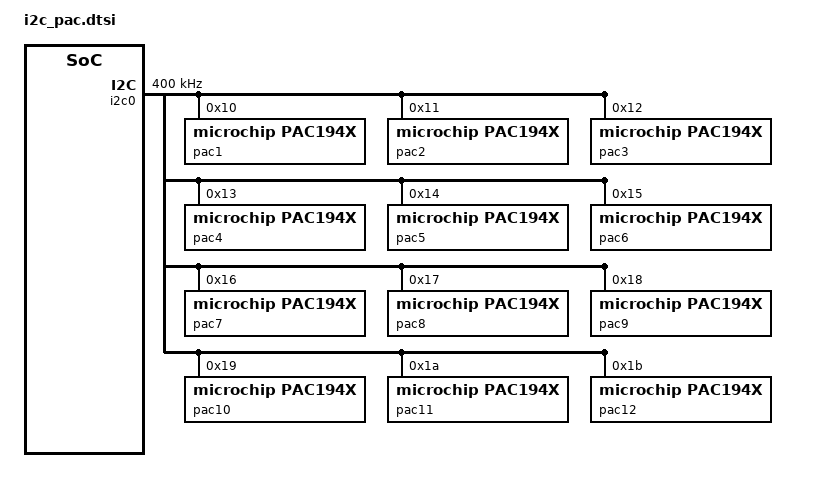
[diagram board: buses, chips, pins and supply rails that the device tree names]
/* Copyright 2026 The ChromiumOS Authors
 * Use of this source code is governed by a BSD-style license that can be
 * found in the LICENSE file.
 */

#include <zephyr/dt-bindings/sensor/pac194x.h>

&i2c0 {
	status = "okay";
	pinctrl-0 = <&i2c0_clk_gpb3_default
			 &i2c0_data_gpb4_default>;
	pinctrl-names = "default";

	label = "I2C_PAC";
	clock-frequency = <I2C_BITRATE_FAST>;

	pac1: pac1954@10 {
		compatible = "microchip,pac194x";
		reg = <0x10>;
		status = "okay";
		#address-cells = <1>;
		#size-cells = <0>;
		microchip,refresh-mode = <PAC_REFRESH_MANUAL>;
		zephyr,deferred-init;

		channel@2 {
			reg = <0x2>;
			microchip,shunt-resistor-micro-ohms = <100000>;
			microchip,vbus-mode = <PAC_BIPOLAR_HALF_FSR>;
			microchip,vsense-mode = <PAC_BIPOLAR_HALF_FSR>;
			microchip,accumulation-mode = <PAC_ACCUM_VPOWER>;
		};
		channel@3 {
			reg = <0x3>;
			microchip,shunt-resistor-micro-ohms = <100000>;
			microchip,vbus-mode = <PAC_BIPOLAR_HALF_FSR>;
			microchip,vsense-mode = <PAC_BIPOLAR_HALF_FSR>;
			microchip,accumulation-mode = <PAC_ACCUM_VPOWER>;
		};
		channel@4 {
			reg = <0x4>;
			microchip,shunt-resistor-micro-ohms = <5000>;
			microchip,vbus-mode = <PAC_BIPOLAR_HALF_FSR>;
			microchip,vsense-mode = <PAC_BIPOLAR_HALF_FSR>;
			microchip,accumulation-mode = <PAC_ACCUM_VPOWER>;
		};
	};

	pac2: pac1954@11 {
		compatible = "microchip,pac194x";
		reg = <0x11>;
		status = "okay";
		#address-cells = <1>;
		#size-cells = <0>;
		microchip,refresh-mode = <PAC_REFRESH_MANUAL>;
		zephyr,deferred-init;

		channel@1 {
			reg = <0x1>;
			microchip,shunt-resistor-micro-ohms = <10000>;
			microchip,vbus-mode = <PAC_BIPOLAR_HALF_FSR>;
			microchip,vsense-mode = <PAC_BIPOLAR_HALF_FSR>;
			microchip,accumulation-mode = <PAC_ACCUM_VPOWER>;
		};
		channel@2 {
			reg = <0x2>;
			microchip,shunt-resistor-micro-ohms = <3000>;
			microchip,vbus-mode = <PAC_BIPOLAR_HALF_FSR>;
			microchip,vsense-mode = <PAC_BIPOLAR_HALF_FSR>;
			microchip,accumulation-mode = <PAC_ACCUM_VPOWER>;
		};
		channel@4 {
			reg = <0x4>;
			microchip,shunt-resistor-micro-ohms = <10000>;
			microchip,vbus-mode = <PAC_BIPOLAR_HALF_FSR>;
			microchip,vsense-mode = <PAC_BIPOLAR_HALF_FSR>;
			microchip,accumulation-mode = <PAC_ACCUM_VPOWER>;
		};
	};

	pac3: pac1954@12 {
		compatible = "microchip,pac194x";
		reg = <0x12>;
		status = "okay";
		#address-cells = <1>;
		#size-cells = <0>;
		microchip,refresh-mode = <PAC_REFRESH_MANUAL>;
		zephyr,deferred-init;

		channel@1 {
			reg = <0x1>;
			microchip,shunt-resistor-micro-ohms = <10000>;
			microchip,vbus-mode = <PAC_BIPOLAR_HALF_FSR>;
			microchip,vsense-mode = <PAC_BIPOLAR_HALF_FSR>;
			microchip,accumulation-mode = <PAC_ACCUM_VPOWER>;
		};
		channel@2 {
			reg = <0x2>;
			microchip,shunt-resistor-micro-ohms = <10000>;
			microchip,vbus-mode = <PAC_BIPOLAR_HALF_FSR>;
			microchip,vsense-mode = <PAC_BIPOLAR_HALF_FSR>;
			microchip,accumulation-mode = <PAC_ACCUM_VPOWER>;
		};
		channel@3 {
			reg = <0x3>;
			microchip,shunt-resistor-micro-ohms = <50000>;
			microchip,vbus-mode = <PAC_BIPOLAR_HALF_FSR>;
			microchip,vsense-mode = <PAC_BIPOLAR_HALF_FSR>;
			microchip,accumulation-mode = <PAC_ACCUM_VPOWER>;
		};
		channel@4 {
			reg = <0x4>;
			microchip,shunt-resistor-micro-ohms = <5000>;
			microchip,vbus-mode = <PAC_BIPOLAR_HALF_FSR>;
			microchip,vsense-mode = <PAC_BIPOLAR_HALF_FSR>;
			microchip,accumulation-mode = <PAC_ACCUM_VPOWER>;
		};
	};

	pac4: pac1954@13 {
		compatible = "microchip,pac194x";
		reg = <0x13>;
		status = "okay";
		#address-cells = <1>;
		#size-cells = <0>;
		microchip,refresh-mode = <PAC_REFRESH_MANUAL>;
		zephyr,deferred-init;

		channel@2 {
			reg = <0x2>;
			microchip,shunt-resistor-micro-ohms = <1000>;
			microchip,vbus-mode = <PAC_BIPOLAR_HALF_FSR>;
			microchip,vsense-mode = <PAC_BIPOLAR_HALF_FSR>;
			microchip,accumulation-mode = <PAC_ACCUM_VPOWER>;
		};
		channel@3 {
			reg = <0x3>;
			microchip,shunt-resistor-micro-ohms = <10000>;
			microchip,vbus-mode = <PAC_BIPOLAR_HALF_FSR>;
			microchip,vsense-mode = <PAC_BIPOLAR_HALF_FSR>;
			microchip,accumulation-mode = <PAC_ACCUM_VPOWER>;
		};
		channel@4 {
			reg = <0x4>;
			microchip,shunt-resistor-micro-ohms = <100000>;
			microchip,vbus-mode = <PAC_BIPOLAR_HALF_FSR>;
			microchip,vsense-mode = <PAC_BIPOLAR_HALF_FSR>;
			microchip,accumulation-mode = <PAC_ACCUM_VPOWER>;
		};
	};

	pac5: pac1954@14 {
		compatible = "microchip,pac194x";
		reg = <0x14>;
		status = "okay";
		#address-cells = <1>;
		#size-cells = <0>;
		microchip,refresh-mode = <PAC_REFRESH_MANUAL>;
		zephyr,deferred-init;

		channel@2 {
			reg = <0x2>;
			microchip,shunt-resistor-micro-ohms = <10000>;
			microchip,vbus-mode = <PAC_BIPOLAR_HALF_FSR>;
			microchip,vsense-mode = <PAC_BIPOLAR_HALF_FSR>;
			microchip,accumulation-mode = <PAC_ACCUM_VPOWER>;
		};
		channel@3 {
			reg = <0x3>;
			microchip,shunt-resistor-micro-ohms = <1000>;
			microchip,vbus-mode = <PAC_BIPOLAR_HALF_FSR>;
			microchip,vsense-mode = <PAC_BIPOLAR_HALF_FSR>;
			microchip,accumulation-mode = <PAC_ACCUM_VPOWER>;
		};
		channel@4 {
			reg = <0x4>;
			microchip,shunt-resistor-micro-ohms = <2000>;
			microchip,vbus-mode = <PAC_BIPOLAR_HALF_FSR>;
			microchip,vsense-mode = <PAC_BIPOLAR_HALF_FSR>;
			microchip,accumulation-mode = <PAC_ACCUM_VPOWER>;
		};
	};

	pac6: pac1954@15 {
		compatible = "microchip,pac194x";
		reg = <0x15>;
		status = "okay";
		#address-cells = <1>;
		#size-cells = <0>;
		microchip,refresh-mode = <PAC_REFRESH_MANUAL>;
		zephyr,deferred-init;

		channel@1 {
			reg = <0x1>;
			microchip,shunt-resistor-micro-ohms = <20000>;
			microchip,vbus-mode = <PAC_BIPOLAR_HALF_FSR>;
			microchip,vsense-mode = <PAC_BIPOLAR_HALF_FSR>;
			microchip,accumulation-mode = <PAC_ACCUM_VPOWER>;
		};
		channel@3 {
			reg = <0x3>;
			microchip,shunt-resistor-micro-ohms = <20000>;
			microchip,vbus-mode = <PAC_BIPOLAR_HALF_FSR>;
			microchip,vsense-mode = <PAC_BIPOLAR_HALF_FSR>;
			microchip,accumulation-mode = <PAC_ACCUM_VPOWER>;
		};
		channel@4 {
			reg = <0x4>;
			microchip,shunt-resistor-micro-ohms = <20000>;
			microchip,vbus-mode = <PAC_BIPOLAR_HALF_FSR>;
			microchip,vsense-mode = <PAC_BIPOLAR_HALF_FSR>;
			microchip,accumulation-mode = <PAC_ACCUM_VPOWER>;
		};
	};

	pac7: pac1954@16 {
		compatible = "microchip,pac194x";
		reg = <0x16>;
		status = "okay";
		#address-cells = <1>;
		#size-cells = <0>;
		microchip,refresh-mode = <PAC_REFRESH_MANUAL>;
		zephyr,deferred-init;

		channel@1 {
			reg = <0x1>;
			microchip,shunt-resistor-micro-ohms = <100000>;
			microchip,vbus-mode = <PAC_BIPOLAR_HALF_FSR>;
			microchip,vsense-mode = <PAC_BIPOLAR_HALF_FSR>;
			microchip,accumulation-mode = <PAC_ACCUM_VPOWER>;
		};
		channel@2 {
			reg = <0x2>;
			microchip,shunt-resistor-micro-ohms = <100000>;
			microchip,vbus-mode = <PAC_BIPOLAR_HALF_FSR>;
			microchip,vsense-mode = <PAC_BIPOLAR_HALF_FSR>;
			microchip,accumulation-mode = <PAC_ACCUM_VPOWER>;
		};
		channel@3 {
			reg = <0x3>;
			microchip,shunt-resistor-micro-ohms = <100000>;
			microchip,vbus-mode = <PAC_BIPOLAR_HALF_FSR>;
			microchip,vsense-mode = <PAC_BIPOLAR_HALF_FSR>;
			microchip,accumulation-mode = <PAC_ACCUM_VPOWER>;
		};
		channel@4 {
			reg = <0x4>;
			microchip,shunt-resistor-micro-ohms = <100000>;
			microchip,vbus-mode = <PAC_BIPOLAR_HALF_FSR>;
			microchip,vsense-mode = <PAC_BIPOLAR_HALF_FSR>;
			microchip,accumulation-mode = <PAC_ACCUM_VPOWER>;
		};
	};

	pac8: pac1954@17 {
		compatible = "microchip,pac194x";
		reg = <0x17>;
		status = "okay";
		#address-cells = <1>;
		#size-cells = <0>;
		microchip,refresh-mode = <PAC_REFRESH_MANUAL>;
		zephyr,deferred-init;

		channel@1 {
			reg = <0x1>;
			microchip,shunt-resistor-micro-ohms = <1000>;
			microchip,vbus-mode = <PAC_BIPOLAR_HALF_FSR>;
			microchip,vsense-mode = <PAC_BIPOLAR_HALF_FSR>;
			microchip,accumulation-mode = <PAC_ACCUM_VPOWER>;
		};
		channel@2 {
			reg = <0x2>;
			microchip,shunt-resistor-micro-ohms = <100000>;
			microchip,vbus-mode = <PAC_BIPOLAR_HALF_FSR>;
			microchip,vsense-mode = <PAC_BIPOLAR_HALF_FSR>;
			microchip,accumulation-mode = <PAC_ACCUM_VPOWER>;
		};
		channel@4 {
			reg = <0x4>;
			microchip,shunt-resistor-micro-ohms = <1000>;
			microchip,vbus-mode = <PAC_BIPOLAR_HALF_FSR>;
			microchip,vsense-mode = <PAC_BIPOLAR_HALF_FSR>;
			microchip,accumulation-mode = <PAC_ACCUM_VPOWER>;
		};
	};

	pac9: pac1954@18 {
		compatible = "microchip,pac194x";
		reg = <0x18>;
		status = "okay";
		#address-cells = <1>;
		#size-cells = <0>;
		microchip,refresh-mode = <PAC_REFRESH_MANUAL>;
		zephyr,deferred-init;

		channel@1 {
			reg = <0x1>;
			microchip,shunt-resistor-micro-ohms = <10000>;
			microchip,vbus-mode = <PAC_BIPOLAR_HALF_FSR>;
			microchip,vsense-mode = <PAC_BIPOLAR_HALF_FSR>;
			microchip,accumulation-mode = <PAC_ACCUM_VPOWER>;
		};
		channel@3 {
			reg = <0x3>;
			microchip,shunt-resistor-micro-ohms = <5000>;
			microchip,vbus-mode = <PAC_BIPOLAR_HALF_FSR>;
			microchip,vsense-mode = <PAC_BIPOLAR_HALF_FSR>;
			microchip,accumulation-mode = <PAC_ACCUM_VPOWER>;
		};
		channel@4 {
			reg = <0x4>;
			microchip,shunt-resistor-micro-ohms = <1000>;
			microchip,vbus-mode = <PAC_BIPOLAR_HALF_FSR>;
			microchip,vsense-mode = <PAC_BIPOLAR_HALF_FSR>;
			microchip,accumulation-mode = <PAC_ACCUM_VPOWER>;
		};
	};

	pac10: pac1954@19 {
		compatible = "microchip,pac194x";
		reg = <0x19>;
		status = "okay";
		#address-cells = <1>;
		#size-cells = <0>;
		microchip,refresh-mode = <PAC_REFRESH_MANUAL>;
		zephyr,deferred-init;

		channel@1 {
			reg = <0x1>;
			microchip,shunt-resistor-micro-ohms = <10000>;
			microchip,vbus-mode = <PAC_BIPOLAR_HALF_FSR>;
			microchip,vsense-mode = <PAC_BIPOLAR_HALF_FSR>;
			microchip,accumulation-mode = <PAC_ACCUM_VPOWER>;
		};
		channel@2 {
			reg = <0x2>;
			microchip,shunt-resistor-micro-ohms = <20000>;
			microchip,vbus-mode = <PAC_BIPOLAR_HALF_FSR>;
			microchip,vsense-mode = <PAC_BIPOLAR_HALF_FSR>;
			microchip,accumulation-mode = <PAC_ACCUM_VPOWER>;
		};
		channel@3 {
			reg = <0x3>;
			microchip,shunt-resistor-micro-ohms = <2000>;
			microchip,vbus-mode = <PAC_BIPOLAR_HALF_FSR>;
			microchip,vsense-mode = <PAC_BIPOLAR_HALF_FSR>;
			microchip,accumulation-mode = <PAC_ACCUM_VPOWER>;
		};
		channel@4 {
			reg = <0x4>;
			microchip,shunt-resistor-micro-ohms = <2000>;
			microchip,vbus-mode = <PAC_BIPOLAR_HALF_FSR>;
			microchip,vsense-mode = <PAC_BIPOLAR_HALF_FSR>;
			microchip,accumulation-mode = <PAC_ACCUM_VPOWER>;
		};
	};

	pac11: pac1954@1a {
		compatible = "microchip,pac194x";
		reg = <0x1a>;
		status = "okay";
		#address-cells = <1>;
		#size-cells = <0>;
		microchip,refresh-mode = <PAC_REFRESH_MANUAL>;
		zephyr,deferred-init;

		channel@2 {
			reg = <0x2>;
			microchip,shunt-resistor-micro-ohms = <5000>;
			microchip,vbus-mode = <PAC_BIPOLAR_HALF_FSR>;
			microchip,vsense-mode = <PAC_BIPOLAR_HALF_FSR>;
			microchip,accumulation-mode = <PAC_ACCUM_VPOWER>;
		};
		channel@3 {
			reg = <0x3>;
			microchip,shunt-resistor-micro-ohms = <20000>;
			microchip,vbus-mode = <PAC_BIPOLAR_HALF_FSR>;
			microchip,vsense-mode = <PAC_BIPOLAR_HALF_FSR>;
			microchip,accumulation-mode = <PAC_ACCUM_VPOWER>;
		};
	};

	pac12: pac1954@1b {
		compatible = "microchip,pac194x";
		reg = <0x1b>;
		status = "okay";
		#address-cells = <1>;
		#size-cells = <0>;
		microchip,refresh-mode = <PAC_REFRESH_MANUAL>;
		zephyr,deferred-init;

		channel@1 {
			reg = <0x1>;
			microchip,shunt-resistor-micro-ohms = <1000>;
			microchip,vbus-mode = <PAC_BIPOLAR_HALF_FSR>;
			microchip,vsense-mode = <PAC_BIPOLAR_HALF_FSR>;
			microchip,accumulation-mode = <PAC_ACCUM_VPOWER>;
		};
		channel@2 {
			reg = <0x2>;
			microchip,shunt-resistor-micro-ohms = <1000>;
			microchip,vbus-mode = <PAC_BIPOLAR_HALF_FSR>;
			microchip,vsense-mode = <PAC_BIPOLAR_HALF_FSR>;
			microchip,accumulation-mode = <PAC_ACCUM_VPOWER>;
		};
		channel@3 {
			reg = <0x3>;
			microchip,shunt-resistor-micro-ohms = <1000>;
			microchip,vbus-mode = <PAC_BIPOLAR_HALF_FSR>;
			microchip,vsense-mode = <PAC_BIPOLAR_HALF_FSR>;
			microchip,accumulation-mode = <PAC_ACCUM_VPOWER>;
		};
		channel@4 {
			reg = <0x4>;
			microchip,shunt-resistor-micro-ohms = <1000>;
			microchip,vbus-mode = <PAC_BIPOLAR_HALF_FSR>;
			microchip,vsense-mode = <PAC_BIPOLAR_HALF_FSR>;
			microchip,accumulation-mode = <PAC_ACCUM_VPOWER>;
		};
	};
};

